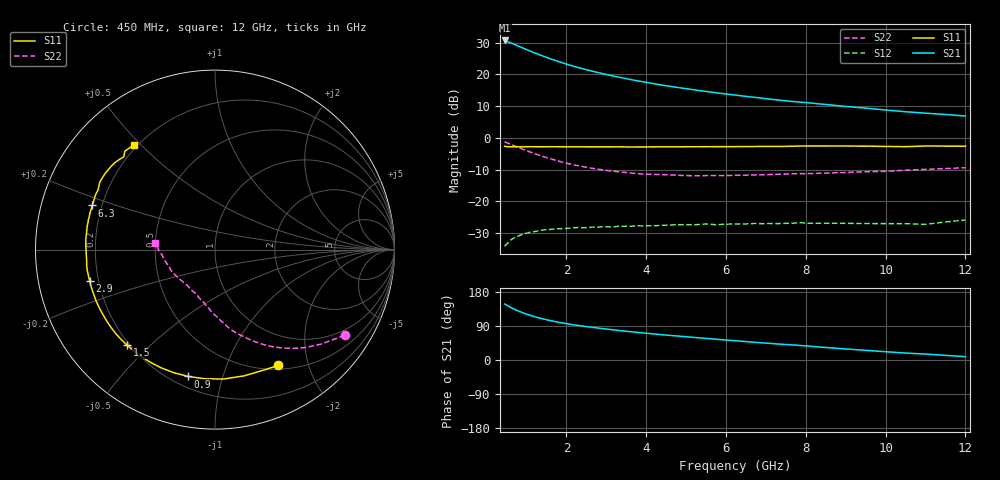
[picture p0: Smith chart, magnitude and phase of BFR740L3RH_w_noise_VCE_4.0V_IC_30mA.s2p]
! (c) 2012  Infineon Technologies AG, Munich
! Infineon Technologies  Discrete & RF Semiconductors
! BFR740L3RH
! VCE =  4.0 V,  IC =  30 mA
! Common Emitter S-Parameters:  May 2012
# GHz  S  MA  R  50
!  f  S11  S21  S12  S22
! GHz  MAG  ANG  MAG  ANG  MAG  ANG  MAG  ANG
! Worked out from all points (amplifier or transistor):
!   85 points, 450 MHz to 12 GHz, reference 50 ohm
!   highest |S21| = 30.7 dB at 450 MHz (marker M1)
!   |S21| within 3 dB of that: start of sweep to 1.025 GHz
!   unconditionally stable (mu >= 1): 5.797 GHz to end of sweep
!   at 1.8 GHz: K = 0.32, MSG = 26.4 dB, |S12| = -28.7 dB
!   at 4.6 GHz: K = 0.80, MSG = 21.9 dB, |S12| = -27.5 dB
!   at 12 GHz: K = 1.91, MAG = 10.9 dB, |S12| = -25.9 dB
!   lowest NFmin = 1.19 dB at 450 MHz
!   S11 on the Smith chart (normalised r, x): 450 MHz: 0.55, -1.54; 900 MHz: 0.26, -0.78; 1.5 GHz: 0.19, -0.43; 2.9 GHz: 0.17, -0.12; 6.3 GHz: 0.16, +0.17; 12 GHz: 0.19, +0.48
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0.45  0.7346 -61.4  34.42 147.7  0.0195 67.8  0.8651 -33.4
0.5  0.726 -66.7  33.44 144.7  0.021 60.8  0.8391 -36.1
0.6  0.7219 -77.0  31.6 138.9  0.0243 52.6  0.7912 -41.7
0.7  0.7227 -86.3  29.76 133.7  0.0266 49.0  0.7464 -46.9
0.8  0.7218 -94.5  27.96 129.0  0.0283 45.9  0.7036 -51.5
0.9  0.7222 -101.9  26.28 124.9  0.0301 42.8  0.6638 -55.7
1  0.7234 -108.4  24.73 121.1  0.0313 40.0  0.6271 -59.5
1.2  0.7239 -119.6  21.98 114.4  0.0332 36.3  0.5625 -66.2
1.3  0.7233 -124.4  20.75 111.5  0.034 34.2  0.5352 -69.1
1.5  0.7233 -132.6  18.62 106.3  0.0355 31.2  0.4882 -74.5
1.7  0.7242 -139.7  16.8 101.7  0.0364 29.0  0.4485 -79.4
1.9  0.7231 -145.6  15.26 97.7  0.0369 27.4  0.4124 -83.3
2.1  0.7216 -150.8  13.95 94.2  0.0375 25.6  0.3852 -87.0
2.4  0.7214 -157.2  12.34 89.6  0.0381 24.1  0.3529 -92.4
2.9  0.7198 -166.0  10.34 82.9  0.0395 22.2  0.3131 -99.5
3.6  0.7173 -175.7  8.342 74.8  0.0402 21.6  0.2791 -109.4
4.3  0.7211 177.0  6.966 67.7  0.0413 21.3  0.2635 -117.1
5.3  0.7238 167.7  5.609 58.6  0.0428 21.4  0.252 -128.9
6.3  0.7265 160.2  4.668 50.2  0.0437 20.9  0.2563 -139.8
8.5  0.7447 145.1  3.359 33.0  0.0449 21.8  0.2775 -162.4
10.5  0.7248 134.5  2.581 18.3  0.0441 27.7  0.3081 -177.2
12  0.7383 127.9  2.212 8.7  0.0505 34.2  0.338 173.3
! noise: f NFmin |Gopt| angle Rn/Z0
0.45  1.19  0.09  178  0.12
0.9  1.19  0.1  173  0.11
1.5  1.21  0.11  167  0.11
1.9  1.22  0.12  164  0.11
2.4  1.24  0.14  164  0.11
3.5  1.3  0.16  166  0.11
5.5  1.44  0.22  170  0.1
8  1.66  0.29  -172  0.11
10  1.85  0.31  -156  0.13
12  2.05  0.37  -136  0.19
